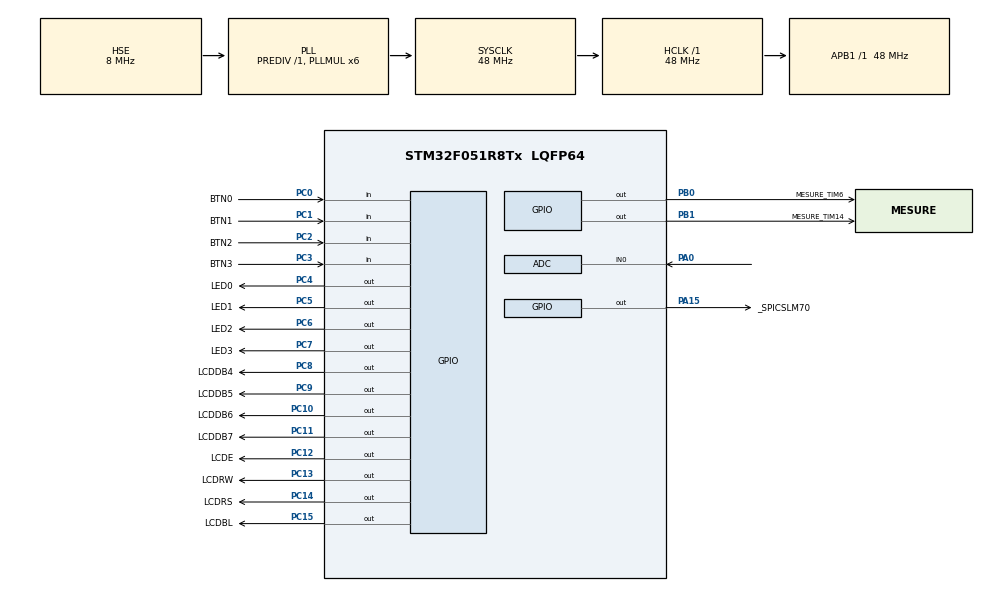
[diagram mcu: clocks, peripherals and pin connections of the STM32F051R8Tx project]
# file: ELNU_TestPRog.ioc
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Mcu.Family=STM32F0
Mcu.Name=STM32F051R8Tx
Mcu.Package=LQFP64
NVIC.TIM14_IRQn=true\:0\:0\:false\:false\:true\:true\:true
NVIC.TIM6_DAC_IRQn=true\:0\:0\:false\:false\:true\:true\:true
PA0.Mode=IN0
PA0.Signal=ADC_IN0
PA13.Mode=Serial_Wire
PA13.Signal=SYS_SWDIO
PA14.Mode=Serial_Wire
PA14.Signal=SYS_SWCLK
PA15.GPIO_Label=_SPICSLM70
PA15.PinState=GPIO_PIN_SET
PA15.Signal=GPIO_Output
PA5.GPIO_Label=SPISCK
PA5.Signal=SPI1_SCK
PA6.GPIO_Label=SPIMISO
PA6.Signal=SPI1_MISO
PB0.GPIO_Label=MESURE_TIM6
PB0.Signal=GPIO_Output
PB1.GPIO_Label=MESURE_TIM14
PB1.Signal=GPIO_Output
PC0.GPIO_Label=BTN0
PC0.Signal=GPIO_Input
PC1.GPIO_Label=BTN1
PC1.Signal=GPIO_Input
PC10.GPIO_Label=LCDDB6
PC10.Signal=GPIO_Output
PC11.GPIO_Label=LCDDB7
PC11.Signal=GPIO_Output
PC12.GPIO_Label=LCDE
PC12.Signal=GPIO_Output
PC13.GPIO_Label=LCDRW
PC13.Signal=GPIO_Output
PC14-OSC32_IN.GPIO_Label=LCDRS
PC14-OSC32_IN.Signal=GPIO_Output
PC15-OSC32_OUT.GPIO_Label=LCDBL
PC15-OSC32_OUT.Signal=GPIO_Output
PC2.GPIO_Label=BTN2
PC2.Signal=GPIO_Input
PC3.GPIO_Label=BTN3
PC3.Signal=GPIO_Input
PC4.GPIO_Label=LED0
PC4.PinState=GPIO_PIN_SET
PC4.Signal=GPIO_Output
PC5.GPIO_Label=LED1
PC5.PinState=GPIO_PIN_SET
PC5.Signal=GPIO_Output
PC6.GPIO_Label=LED2
PC6.PinState=GPIO_PIN_SET
PC6.Signal=GPIO_Output
PC7.GPIO_Label=LED3
PC7.PinState=GPIO_PIN_SET
PC7.Signal=GPIO_Output
PC8.GPIO_Label=LCDDB4
PC8.Signal=GPIO_Output
PC9.GPIO_Label=LCDDB5
PC9.Signal=GPIO_Output
PF0-OSC_IN.GPIO_Label=OSCIN
PF0-OSC_IN.Mode=HSE-External-Oscillator
PF0-OSC_IN.Signal=RCC_OSC_IN
PF1-OSC_OUT.GPIO_Label=OSCOUT
PF1-OSC_OUT.Mode=HSE-External-Oscillator
PF1-OSC_OUT.Signal=RCC_OSC_OUT
PF6.Signal=I2C2_SCL
PF7.Signal=I2C2_SDA
ProjectManager.HeapSize=0x200
ProjectManager.StackSize=0x400
ProjectManager.TargetToolchain=MDK-ARM V5
RCC.AHBFreq_Value=48000000
RCC.APB1Freq_Value=48000000
RCC.APB1TimFreq_Value=48000000
RCC.EnbaleCSS=true
RCC.HCLKFreq_Value=48000000
RCC.PLLMUL=RCC_PLL_MUL6
RCC.PLLSourceVirtual=RCC_PLLSOURCE_HSE
RCC.SYSCLKFreq_VALUE=48000000
RCC.SYSCLKSource=RCC_SYSCLKSOURCE_PLLCLK
TIM14.Period=999
TIM14.Prescaler=47
TIM6.Period=199
TIM6.Prescaler=47
VP_TIM14_VS_ClockSourceINT.Mode=Enable_Timer
VP_TIM6_VS_ClockSourceINT.Mode=Enable_Timer
board=test01_blink

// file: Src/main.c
/* USER CODE BEGIN Header */
/**
  ******************************************************************************
  * @file           : main.c
  * @brief          : Main program body
  ******************************************************************************
  * @attention
  *
  * <h2><center>&copy; Copyright (c) 2021 STMicroelectronics.
  * All rights reserved.</center></h2>
  *
  * This software component is licensed by ST under BSD 3-Clause license,
  * the "License"; You may not use this file except in compliance with the
  * License. You may obtain a copy of the License at:
  *                        opensource.org/licenses/BSD-3-Clause
  *
  ******************************************************************************
  */
/* USER CODE END Header */
#include "main.h"
#include "adc.h"
#include "tim.h"
#include "gpio.h"

/* USER CODE BEGIN Includes */
#include <stdint.h>

#include "fonctionsTestELNU.h"
#include "stm32DriverLcd.h"
#include "stm32f0xx_it.h"
#include "fonctionsTestELNU.h"
/* USER CODE END Includes */

/* USER CODE BEGIN PD */
enum etat {STATE_INIT, STATE_EXEC, STATE_WAIT};

/* USER CODE END PD */

/* USER CODE BEGIN PV */
enum etat etatActuel = STATE_INIT;
uint8_t positionLeds = 0;

/* USER CODE END PV */

void SystemClock_Config(void);

int main(void)
{
  /* USER CODE BEGIN 1 */
	//-- déclaration de variable --//

  /* USER CODE END 1 */

  /* MCU Configuration--------------------------------------------------------*/

  /* Reset of all peripherals, Initializes the Flash interface and the Systick. */
  HAL_Init();

  /* Configure the system clock */
  SystemClock_Config();

  /* Initialize all configured peripherals */
  MX_GPIO_Init();
  MX_TIM6_Init();
  MX_TIM14_Init();
  MX_ADC_Init();
  /* USER CODE BEGIN 2 */
	//-- initialisation LCD avec message utilisateur --//
	lcd_init();
	lcd_bl_on();
  lcd_gotoxy(1,1);
	printf_lcd("TEST ELNU 23");
	lcd_gotoxy(1,2);
	printf_lcd("SOLUS PERRET");

	//-- activation du timer 6 avec interruption --//
 	HAL_TIM_Base_Start_IT(&htim6);

	//-- calibration pour l'ADC --//
	HAL_ADCEx_Calibration_Start(&hadc);

	//-- lancement du timer14 avec interruption --//
	HAL_TIM_Base_Start_IT(&htim14);

//Fonction interruption Tim6
	void HAL_TIM_PeriodElapsedCallback(TIM_HandleTypeDef *htim6)		// Fonction d'interruption toutes les 1ms
{
	static uint8_t delai = 0;
	delai += DELAI_INTERRUPTION;
	if(delai >= DELAI_MISE_A_JOUR) // On rentre dans le if toutes les 1ms
	{
		etatActuel = STATE_INIT
	}
		delai = 0;
}

  /* USER CODE END 2 */

  /* Infinite loop */
  /* USER CODE BEGIN WHILE */
  while (1)
  {
		//-- Machine d'état --//
			switch(etatActuel)
		{
				//-- Initialisation --//
			case STATE_INIT:
				//-- appel fonction chenillard --//
				FctChenillard(positionLeds);
				if(positionLeds > 5)
				{
					FctAllumerLeds(); 				//-- allumer les leds pendant 5s --//
				}
				else
				{
					FctEteindreLeds(); 				//-- eteindre les leds --//
				}
				break;
			case STATE_EXEC:

				break;
			case STATE_WAIT:
				break;
		}
	}

				//-- mise à jour de la machine d'état --//

			//-- Execution --//

				//-- lecture de l'ADC => canal 1 --//

				//-- controle des seuils --//

				//-- test si touches sont activée actif à 1 (actif toutes les 100ms)--//

				//-- action selon l'état des touches --//

					//-- appel de la fonction CreationDentScieGauche --//

					//-- appel de la fonction CreationDentSciedroite --//

					//-- appel de la fonction CreationTriangle --//

					//-- mise à du tableau à zéro --//

			//-- Attente --//

					//-- ne fait rien

		}
    /* USER CODE END WHILE */

}

void SystemClock_Config(void)
{
  RCC_OscInitTypeDef RCC_OscInitStruct = {0};
  RCC_ClkInitTypeDef RCC_ClkInitStruct = {0};

  /** Initializes the RCC Oscillators according to the specified parameters
  * in the RCC_OscInitTypeDef structure.
  */
  RCC_OscInitStruct.OscillatorType = RCC_OSCILLATORTYPE_HSI14|RCC_OSCILLATORTYPE_HSE;
  RCC_OscInitStruct.HSEState = RCC_HSE_ON;
  RCC_OscInitStruct.HSI14State = RCC_HSI14_ON;
  RCC_OscInitStruct.HSI14CalibrationValue = 16;
  RCC_OscInitStruct.PLL.PLLState = RCC_PLL_ON;
  RCC_OscInitStruct.PLL.PLLSource = RCC_PLLSOURCE_HSE;
  RCC_OscInitStruct.PLL.PLLMUL = RCC_PLL_MUL6;
  RCC_OscInitStruct.PLL.PREDIV = RCC_PREDIV_DIV1;
  if (HAL_RCC_OscConfig(&RCC_OscInitStruct) != HAL_OK)
  {
    Error_Handler();
  }
  /** Initializes the CPU, AHB and APB buses clocks
  */
  RCC_ClkInitStruct.ClockType = RCC_CLOCKTYPE_HCLK|RCC_CLOCKTYPE_SYSCLK
                              |RCC_CLOCKTYPE_PCLK1;
  RCC_ClkInitStruct.SYSCLKSource = RCC_SYSCLKSOURCE_PLLCLK;
  RCC_ClkInitStruct.AHBCLKDivider = RCC_SYSCLK_DIV1;
  RCC_ClkInitStruct.APB1CLKDivider = RCC_HCLK_DIV1;

  if (HAL_RCC_ClockConfig(&RCC_ClkInitStruct, FLASH_LATENCY_1) != HAL_OK)
  {
    Error_Handler();
  }
  /** Enables the Clock Security System
  */
  HAL_RCC_EnableCSS();
}

void Error_Handler(void)
{
  __disable_irq();
  while (1)
  {
  }
}

/************************ (C) COPYRIGHT STMicroelectronics *****END OF FILE****/
